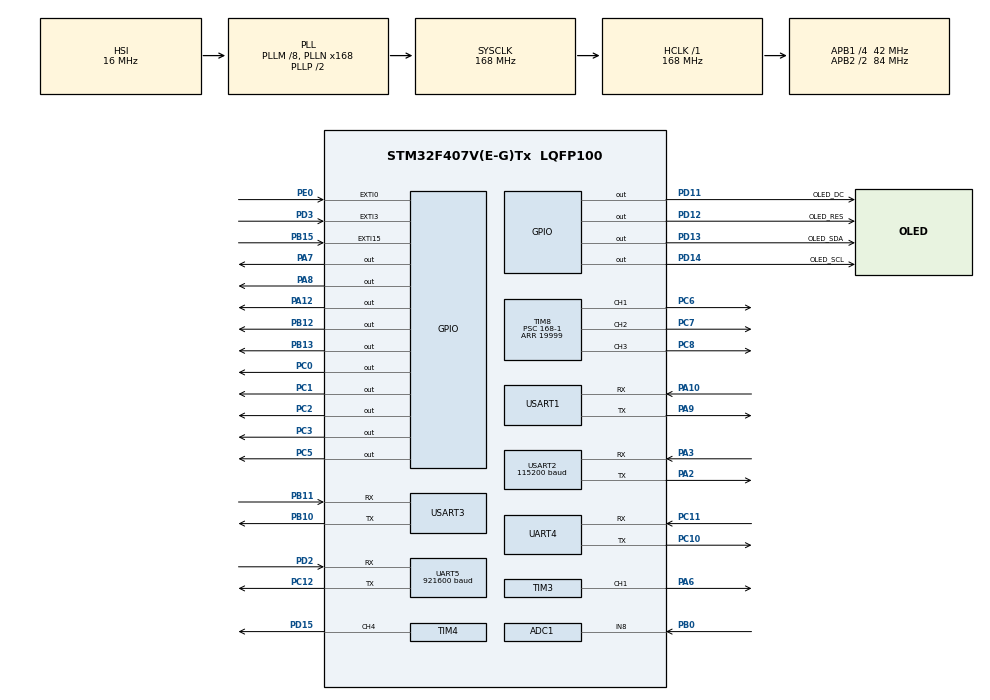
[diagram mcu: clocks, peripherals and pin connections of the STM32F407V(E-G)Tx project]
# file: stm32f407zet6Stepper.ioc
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ADC1.Channel-2\#ChannelRegularConversion=ADC_CHANNEL_8
ADC1.NbrOfConversionFlag=1
ADC1.Rank-2\#ChannelRegularConversion=1
ADC1.SamplingTime-2\#ChannelRegularConversion=ADC_SAMPLETIME_3CYCLES
ADC1.master=1
Dma.Request0=USART1_RX
Dma.Request1=USART1_TX
Dma.Request2=UART5_RX
Dma.Request3=UART5_TX
Dma.Request4=UART4_RX
Dma.Request5=UART4_TX
Dma.Request6=USART2_RX
Dma.Request7=USART2_TX
Dma.Request8=USART3_TX
Dma.Request9=USART3_RX
Dma.UART4_RX.4.Direction=DMA_PERIPH_TO_MEMORY
Dma.UART4_RX.4.FIFOMode=DMA_FIFOMODE_DISABLE
Dma.UART4_RX.4.Instance=DMA1_Stream2
Dma.UART4_RX.4.MemDataAlignment=DMA_MDATAALIGN_BYTE
Dma.UART4_RX.4.MemInc=DMA_MINC_ENABLE
Dma.UART4_RX.4.Mode=DMA_NORMAL
Dma.UART4_RX.4.PeriphDataAlignment=DMA_PDATAALIGN_BYTE
Dma.UART4_RX.4.PeriphInc=DMA_PINC_DISABLE
Dma.UART4_RX.4.Priority=DMA_PRIORITY_LOW
Dma.UART4_TX.5.Direction=DMA_MEMORY_TO_PERIPH
Dma.UART4_TX.5.FIFOMode=DMA_FIFOMODE_DISABLE
Dma.UART4_TX.5.Instance=DMA1_Stream4
Dma.UART4_TX.5.MemDataAlignment=DMA_MDATAALIGN_BYTE
Dma.UART4_TX.5.MemInc=DMA_MINC_ENABLE
Dma.UART4_TX.5.Mode=DMA_NORMAL
Dma.UART4_TX.5.PeriphDataAlignment=DMA_PDATAALIGN_BYTE
Dma.UART4_TX.5.PeriphInc=DMA_PINC_DISABLE
Dma.UART4_TX.5.Priority=DMA_PRIORITY_LOW
Dma.UART5_RX.2.Direction=DMA_PERIPH_TO_MEMORY
Dma.UART5_RX.2.FIFOMode=DMA_FIFOMODE_DISABLE
Dma.UART5_RX.2.Instance=DMA1_Stream0
Dma.UART5_RX.2.MemDataAlignment=DMA_MDATAALIGN_BYTE
Dma.UART5_RX.2.MemInc=DMA_MINC_ENABLE
Dma.UART5_RX.2.Mode=DMA_NORMAL
Dma.UART5_RX.2.PeriphDataAlignment=DMA_PDATAALIGN_BYTE
Dma.UART5_RX.2.PeriphInc=DMA_PINC_DISABLE
Dma.UART5_RX.2.Priority=DMA_PRIORITY_LOW
Dma.UART5_TX.3.Direction=DMA_MEMORY_TO_PERIPH
Dma.UART5_TX.3.FIFOMode=DMA_FIFOMODE_DISABLE
Dma.UART5_TX.3.Instance=DMA1_Stream7
Dma.UART5_TX.3.MemDataAlignment=DMA_MDATAALIGN_BYTE
Dma.UART5_TX.3.MemInc=DMA_MINC_ENABLE
Dma.UART5_TX.3.Mode=DMA_NORMAL
Dma.UART5_TX.3.PeriphDataAlignment=DMA_PDATAALIGN_BYTE
Dma.UART5_TX.3.PeriphInc=DMA_PINC_DISABLE
Dma.UART5_TX.3.Priority=DMA_PRIORITY_LOW
Dma.USART1_RX.0.Direction=DMA_PERIPH_TO_MEMORY
Dma.USART1_RX.0.FIFOMode=DMA_FIFOMODE_DISABLE
Dma.USART1_RX.0.Instance=DMA2_Stream2
Dma.USART1_RX.0.MemDataAlignment=DMA_MDATAALIGN_BYTE
Dma.USART1_RX.0.MemInc=DMA_MINC_ENABLE
Dma.USART1_RX.0.Mode=DMA_NORMAL
Dma.USART1_RX.0.PeriphDataAlignment=DMA_PDATAALIGN_BYTE
Dma.USART1_RX.0.PeriphInc=DMA_PINC_DISABLE
Dma.USART1_RX.0.Priority=DMA_PRIORITY_LOW
Dma.USART1_TX.1.Direction=DMA_MEMORY_TO_PERIPH
Dma.USART1_TX.1.FIFOMode=DMA_FIFOMODE_DISABLE
Dma.USART1_TX.1.Instance=DMA2_Stream7
Dma.USART1_TX.1.MemDataAlignment=DMA_MDATAALIGN_BYTE
Dma.USART1_TX.1.MemInc=DMA_MINC_ENABLE
Dma.USART1_TX.1.Mode=DMA_NORMAL
Dma.USART1_TX.1.PeriphDataAlignment=DMA_PDATAALIGN_BYTE
Dma.USART1_TX.1.PeriphInc=DMA_PINC_DISABLE
Dma.USART1_TX.1.Priority=DMA_PRIORITY_LOW
Dma.USART2_RX.6.Direction=DMA_PERIPH_TO_MEMORY
Dma.USART2_RX.6.FIFOMode=DMA_FIFOMODE_DISABLE
Dma.USART2_RX.6.Instance=DMA1_Stream5
Dma.USART2_RX.6.MemDataAlignment=DMA_MDATAALIGN_BYTE
Dma.USART2_RX.6.MemInc=DMA_MINC_ENABLE
Dma.USART2_RX.6.Mode=DMA_NORMAL
Dma.USART2_RX.6.PeriphDataAlignment=DMA_PDATAALIGN_BYTE
Dma.USART2_RX.6.PeriphInc=DMA_PINC_DISABLE
Dma.USART2_RX.6.Priority=DMA_PRIORITY_LOW
Dma.USART2_TX.7.Direction=DMA_MEMORY_TO_PERIPH
Dma.USART2_TX.7.FIFOMode=DMA_FIFOMODE_DISABLE
Dma.USART2_TX.7.Instance=DMA1_Stream6
Dma.USART2_TX.7.MemDataAlignment=DMA_MDATAALIGN_BYTE
Dma.USART2_TX.7.MemInc=DMA_MINC_ENABLE
Dma.USART2_TX.7.Mode=DMA_NORMAL
Dma.USART2_TX.7.PeriphDataAlignment=DMA_PDATAALIGN_BYTE
Dma.USART2_TX.7.PeriphInc=DMA_PINC_DISABLE
Dma.USART2_TX.7.Priority=DMA_PRIORITY_LOW
Dma.USART3_RX.9.Direction=DMA_PERIPH_TO_MEMORY
Dma.USART3_RX.9.FIFOMode=DMA_FIFOMODE_DISABLE
Dma.USART3_RX.9.Instance=DMA1_Stream1
Dma.USART3_RX.9.MemDataAlignment=DMA_MDATAALIGN_BYTE
Dma.USART3_RX.9.MemInc=DMA_MINC_ENABLE
Dma.USART3_RX.9.Mode=DMA_NORMAL
Dma.USART3_RX.9.PeriphDataAlignment=DMA_PDATAALIGN_BYTE
Dma.USART3_RX.9.PeriphInc=DMA_PINC_DISABLE
Dma.USART3_RX.9.Priority=DMA_PRIORITY_LOW
Dma.USART3_TX.8.Direction=DMA_MEMORY_TO_PERIPH
Dma.USART3_TX.8.FIFOMode=DMA_FIFOMODE_DISABLE
Dma.USART3_TX.8.Instance=DMA1_Stream3
Dma.USART3_TX.8.MemDataAlignment=DMA_MDATAALIGN_BYTE
Dma.USART3_TX.8.MemInc=DMA_MINC_ENABLE
Dma.USART3_TX.8.Mode=DMA_NORMAL
Dma.USART3_TX.8.PeriphDataAlignment=DMA_PDATAALIGN_BYTE
Dma.USART3_TX.8.PeriphInc=DMA_PINC_DISABLE
Dma.USART3_TX.8.Priority=DMA_PRIORITY_LOW
FREERTOS.Tasks01=defaultTask,11,256,StartDefaultTask,Default,NULL,Dynamic,NULL,NULL;myTask02,15,256,StartTask02,Default,NULL,Dynamic,NULL,NULL;myTask03,47,512,StartTask03,Default,NULL,Dynamic,NULL,NULL;myTask04,8,256,StartTask04,Default,NULL,Dynamic,NULL,NULL;myTask05,16,512,StartTask05,Default,NULL,Dynamic,NULL,NULL
Mcu.Family=STM32F4
Mcu.Name=STM32F407V(E-G)Tx
Mcu.Package=LQFP100
NVIC.DMA1_Stream0_IRQn=true\:5\:0\:false\:false\:true\:true\:false\:true\:true
NVIC.DMA1_Stream1_IRQn=true\:5\:0\:false\:false\:true\:true\:false\:true\:true
NVIC.DMA1_Stream2_IRQn=true\:5\:0\:false\:false\:true\:true\:false\:true\:true
NVIC.DMA1_Stream3_IRQn=true\:5\:0\:false\:false\:true\:true\:false\:true\:true
NVIC.DMA1_Stream4_IRQn=true\:5\:0\:false\:false\:true\:true\:false\:true\:true
NVIC.DMA1_Stream5_IRQn=true\:5\:0\:false\:false\:true\:true\:false\:true\:true
NVIC.DMA1_Stream6_IRQn=true\:5\:0\:false\:false\:true\:true\:false\:true\:true
NVIC.DMA1_Stream7_IRQn=true\:5\:0\:false\:false\:true\:true\:false\:true\:true
NVIC.DMA2_Stream2_IRQn=true\:5\:0\:false\:false\:true\:true\:false\:true\:true
NVIC.DMA2_Stream7_IRQn=true\:5\:0\:false\:false\:true\:true\:false\:true\:true
NVIC.EXTI0_IRQn=true\:5\:0\:false\:false\:true\:true\:true\:true\:true
NVIC.EXTI15_10_IRQn=true\:5\:0\:false\:false\:true\:true\:true\:true\:true
NVIC.EXTI3_IRQn=true\:5\:0\:false\:false\:true\:true\:true\:true\:true
NVIC.PriorityGroup=NVIC_PRIORITYGROUP_4
NVIC.TIM3_IRQn=true\:6\:0\:true\:false\:true\:true\:true\:true\:true
NVIC.TIM8_BRK_TIM12_IRQn=true\:5\:0\:false\:false\:true\:true\:true\:true\:true
NVIC.TIM8_TRG_COM_TIM14_IRQn=true\:4\:0\:true\:false\:true\:false\:false\:true\:true
NVIC.TIM8_UP_TIM13_IRQn=true\:5\:0\:false\:false\:true\:true\:true\:true\:true
NVIC.TimeBase=TIM8_TRG_COM_TIM14_IRQn
NVIC.TimeBaseIP=TIM14
NVIC.UART4_IRQn=true\:5\:0\:false\:false\:true\:true\:true\:true\:true
NVIC.UART5_IRQn=true\:5\:0\:false\:false\:true\:true\:true\:true\:true
NVIC.USART1_IRQn=true\:5\:0\:false\:false\:true\:true\:true\:true\:true
NVIC.USART2_IRQn=true\:5\:0\:false\:false\:true\:true\:true\:true\:true
NVIC.USART3_IRQn=true\:5\:0\:false\:false\:true\:true\:true\:true\:true
PA10.Mode=Asynchronous
PA10.Signal=USART1_RX
PA12.Signal=GPIO_Output
PA13.Mode=Serial_Wire
PA13.Signal=SYS_JTMS-SWDIO
PA14.Mode=Serial_Wire
PA14.Signal=SYS_JTCK-SWCLK
PA2.Mode=Asynchronous
PA2.Signal=USART2_TX
PA3.Mode=Asynchronous
PA3.Signal=USART2_RX
PA6.Signal=S_TIM3_CH1
PA7.GPIO_PuPd=GPIO_PULLDOWN
PA7.Signal=GPIO_Output
PA8.Signal=GPIO_Output
PA9.Mode=Asynchronous
PA9.Signal=USART1_TX
PB0.Signal=ADCx_IN8
PB10.Mode=Asynchronous
PB10.Signal=USART3_TX
PB11.Mode=Asynchronous
PB11.Signal=USART3_RX
PB12.Signal=GPIO_Output
PB13.Signal=GPIO_Output
PB15.GPIO_PuPd=GPIO_PULLUP
PB15.Signal=GPXTI15
PC0.Signal=GPIO_Output
PC1.Signal=GPIO_Output
PC10.Mode=Asynchronous
PC10.Signal=UART4_TX
PC11.Mode=Asynchronous
PC11.Signal=UART4_RX
PC12.Mode=Asynchronous
PC12.Signal=UART5_TX
PC2.Signal=GPIO_Output
PC3.GPIO_PuPd=GPIO_PULLDOWN
PC3.Signal=GPIO_Output
PC5.GPIO_ModeDefaultOutputPP=GPIO_MODE_OUTPUT_PP
PC5.GPIO_PuPd=GPIO_PULLDOWN
PC5.Signal=GPIO_Output
PC6.Signal=S_TIM8_CH1
PC7.Signal=S_TIM8_CH2
PC8.Signal=S_TIM8_CH3
PD11.GPIO_Label=OLED_DC
PD11.Signal=GPIO_Output
PD12.GPIO_Label=OLED_RES
PD12.Signal=GPIO_Output
PD13.GPIO_Label=OLED_SDA
PD13.Signal=GPIO_Output
PD14.GPIO_Label=OLED_SCL
PD14.Signal=GPIO_Output
PD15.Signal=S_TIM4_CH4
PD2.Mode=Asynchronous
PD2.Signal=UART5_RX
PD3.GPIO_PuPd=GPIO_PULLDOWN
PD3.Signal=GPXTI3
PE0.GPIO_ModeDefaultEXTI=GPIO_MODE_IT_FALLING
PE0.GPIO_PuPd=GPIO_PULLUP
PE0.Signal=GPXTI0
PH0-OSC_IN.Mode=HSE-External-Oscillator
PH0-OSC_IN.Signal=RCC_OSC_IN
PH1-OSC_OUT.Mode=HSE-External-Oscillator
PH1-OSC_OUT.Signal=RCC_OSC_OUT
ProjectManager.HeapSize=0x200
ProjectManager.StackSize=0x400
ProjectManager.TargetToolchain=MDK-ARM V5.32
RCC.48MHZClocksFreq_Value=84000000
RCC.AHBFreq_Value=168000000
RCC.APB1CLKDivider=RCC_HCLK_DIV4
RCC.APB1Freq_Value=42000000
RCC.APB1TimFreq_Value=84000000
RCC.APB2CLKDivider=RCC_HCLK_DIV2
RCC.APB2Freq_Value=84000000
RCC.APB2TimFreq_Value=168000000
RCC.CortexFreq_Value=168000000
RCC.HCLKFreq_Value=168000000
RCC.HSE_VALUE=25000000
RCC.HSI_VALUE=16000000
RCC.LSE_VALUE=32768
RCC.PLLM=8
RCC.PLLN=168
RCC.SYSCLKFreq_VALUE=168000000
RCC.SYSCLKSource=RCC_SYSCLKSOURCE_PLLCLK
RCC.VCOOutputFreq_Value=336000000
SH.ADCx_IN8.0=ADC1_IN8,IN8
SH.S_TIM3_CH1.0=TIM3_CH1,PWM Generation1 CH1
SH.S_TIM4_CH4.0=TIM4_CH4,PWM Generation4 CH4
SH.S_TIM8_CH1.0=TIM8_CH1,PWM Generation1 CH1
SH.S_TIM8_CH2.0=TIM8_CH2,PWM Generation2 CH2
SH.S_TIM8_CH3.0=TIM8_CH3,PWM Generation3 CH3
TIM3.Channel-PWM\ Generation1\ CH1=TIM_CHANNEL_1
TIM3.Pulse-PWM\ Generation1\ CH1=30000
TIM4.Channel-PWM\ Generation4\ CH4=TIM_CHANNEL_4
TIM8.Channel-PWM\ Generation1\ CH1=TIM_CHANNEL_1
TIM8.Channel-PWM\ Generation2\ CH2=TIM_CHANNEL_2
TIM8.Channel-PWM\ Generation3\ CH3=TIM_CHANNEL_3
TIM8.Period=19999
TIM8.Prescaler=168-1
UART4.VirtualMode=Asynchronous
UART5.BaudRate=921600
UART5.VirtualMode=Asynchronous
USART1.VirtualMode=VM_ASYNC
USART2.BaudRate=115200
USART2.VirtualMode=VM_ASYNC
USART3.VirtualMode=VM_ASYNC
VP_FREERTOS_VS_CMSIS_V2.Mode=CMSIS_V2
VP_SYS_VS_tim14.Mode=TIM14
board=custom

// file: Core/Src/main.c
/* USER CODE BEGIN Header */
/**
 ******************************************************************************
 * @file           : main.c
 * @brief          : Main program body
 ******************************************************************************
 * @attention
 *
 * Copyright (c) 2024 STMicroelectronics.
 * All rights reserved.
 *
 * This software is licensed under terms that can be found in the LICENSE file
 * in the root directory of this software component.
 * If no LICENSE file comes with this software, it is provided AS-IS.
 *
 ******************************************************************************
 */
/* USER CODE END Header */
#include "main.h"
#include "cmsis_os.h"
#include "adc.h"
#include "dma.h"
#include "tim.h"
#include "usart.h"
#include "gpio.h"

/* USER CODE BEGIN Includes */
#include "oled.h"
#include "MecanumMotionControl.h"
#include "mpu.h"
#include "openmv.h"
#include "SliderElevatorControl.h"
#include "servo.h"
#include "ZDT_Stepper.h"
#include "uart_screen.h"
#include "camera_led.h"
/* USER CODE END Includes */

void SystemClock_Config(void);
void MX_FREERTOS_Init(void);

/* USER CODE BEGIN 0 */

int fputc(int ch, FILE *f)
{
  HAL_UART_Transmit(&huart1, (uint8_t *)&ch, 1, HAL_MAX_DELAY);
  return ch;
}
/*
ä¸˛ĺŁDMAćĽćśä¸­ć­ĺč°ĺ˝ć°
*/
uint8_t Rx_data[200] = {0};
char received_string[256];
extern DMA_HandleTypeDef hdma_usart1_rx;
extern uint8_t MPU_RX_flag;
extern uint8_t openmv_rx_flag;
void HAL_UARTEx_RxEventCallback(UART_HandleTypeDef *huart, uint16_t Size)
{
  if (huart == &huart1)
  {

    strcpy(received_string, (char *)Rx_data);
    HAL_UART_Transmit(&huart3, Rx_data, Size, HAL_MAX_DELAY);
    // HAL_UART_Transmit(&huart1, Rx_data, Size, HAL_MAX_DELAY);

    // fprintf(stdout, "%s\r\n", received_string); // ĺ°ä¸˛?????????????????????1ćĽćśĺ°çć°ćŽčżĺĺ°ä¸˛?????????????????????1
    // HAL_UART_Transmit(&huart5, Rx_data, Size, HAL_MAX_DELAY);
    memset(Rx_data, 0, sizeof(Rx_data));
    HAL_UARTEx_ReceiveToIdle_DMA(huart, Rx_data, sizeof(Rx_data) - 1);
    __HAL_DMA_DISABLE_IT(&hdma_usart1_rx, DMA_IT_HT);
  }
  else if (huart == &huart5) // ćĽćśMPUć°ćŽ
  {
    MPU_UARTE_Rx_Callback(Size);
    MPU_RX_flag = 1 - MPU_RX_flag;
  }
  else if (huart == &huart4) // ćĽćśOpenMVć°ćŽ
  {
    openmv_uart_rx_callback(Size, 4);
    openmv_rx_flag = 1 - openmv_rx_flag;
    HAL_GPIO_TogglePin(GPIOA, GPIO_PIN_12);
  }
  else if (huart == &huart2)
  {
    uart_screen_init();
    openmv_uart_rx_callback(Size, 2);
    openmv_rx_flag = 1 - openmv_rx_flag;
    HAL_GPIO_TogglePin(GPIOA, GPIO_PIN_12);
  }
  else if (huart == &huart3)
  {
    ZDT_Stepper_USRT_RX_callback(Size);
    HAL_GPIO_TogglePin(GPIOA, GPIO_PIN_12);
  }
}

extern uint8_t start_flag;
uint8_t button_fix_flag = 0;
void HAL_GPIO_EXTI_Callback(uint16_t GPIO_Pin)
{
  if (GPIO_Pin == GPIO_PIN_0 || GPIO_Pin == GPIO_PIN_15)
  {
    calibrateAngleToZero(0);
    start_flag = 1;
  }
  else if (GPIO_Pin == GPIO_PIN_3)
  {
    if (button_fix_flag == 0)
    {
      button_fix_flag = 1;
    }
    else
    {
      button_fix_flag = 0;
      for (volatile uint32_t i = 0; i < 1000; i++)
      {
      }
      if (HAL_GPIO_ReadPin(GPIOD, GPIO_PIN_3) == GPIO_PIN_SET)
      {
        ZDT_Stepper_Enable(0, 1, SYNC_DISABLE);
        // printf("ZDT_Stepper_Enable\r\n");

        for (volatile uint32_t i = 0; i < 1000; i++)
        {
        }
      }
      else
      {
        ZDT_Stepper_Enable(0, 0, SYNC_DISABLE);
        // printf("ZDT_Stepper_Disable\r\n");

        for (volatile uint32_t i = 0; i < 1000; i++)
        {
        }
      }
    }
  }
}
void HAL_TIM_PWM_PulseFinishedCallback(TIM_HandleTypeDef *htim)
{
  if (htim->Instance == TIM3) // ĺ¤ć­ćŻĺŞä¸ŞĺŽćśĺ¨
  {
    // ĺ? PWM čĺ˛çťććśĺä¸?äşćä˝?
    Silder_TIM_Callback();
  }
}
/* USER CODE END 0 */

int main(void)
{

  /* MCU Configuration--------------------------------------------------------*/

  /* Reset of all peripherals, Initializes the Flash interface and the Systick. */
  HAL_Init();

  /* Configure the system clock */
  SystemClock_Config();

  /* Initialize all configured peripherals */
  MX_GPIO_Init();
  MX_DMA_Init();
  MX_USART1_UART_Init();
  MX_ADC1_Init();
  MX_UART5_Init();
  MX_UART4_Init();
  MX_USART2_UART_Init();
  MX_TIM8_Init();
  MX_USART3_UART_Init();
  MX_TIM3_Init();
  MX_TIM4_Init();
  /* USER CODE BEGIN 2 */
  MPU_Init();
  OLED_Init();
  motor_init();
  Servo_Init();
  camera_led_init();
  HAL_UARTEx_ReceiveToIdle_DMA(&huart1, Rx_data, 200 - 1); // ĺŻç¨çŠşé˛ä¸­ć­ćĽćś
  __HAL_DMA_DISABLE_IT(&hdma_usart1_rx, DMA_IT_HT);        // ĺłé­DMAäź čžčżĺä¸­ć­
  ZDT_Stepper_init();

  HAL_Delay(50);

  openmv_uart_init();
  HAL_Delay(50);
  uart_screen_init();
  Slider_position_init();
  // HAL_TIM_PWM_Start(&htim3, TIM_CHANNEL_1);
  // HAL_GPIO_WritePin(GPIOA, GPIO_PIN_6, GPIO_PIN_SET);
  // HAL_GPIO_WritePin(GPIOC, GPIO_PIN_5, GPIO_PIN_SET);

  HAL_Delay(50);
  calibrateAngleToZero(0);
  /* USER CODE END 2 */

  /* Init scheduler */
  osKernelInitialize();

  /* Call init function for freertos objects (in cmsis_os2.c) */
  MX_FREERTOS_Init();

  /* Start scheduler */
  osKernelStart();

  /* We should never get here as control is now taken by the scheduler */

  /* Infinite loop */
  /* USER CODE BEGIN WHILE */

  // HAL_UART_Transmit(&Stepper_Uart_Handle, send_data, 16, HAL_MAX_DELAY);
  while (1)
  {
    /* USER CODE END WHILE */

    /* USER CODE BEGIN 3 */
    // HAL_GPIO_TogglePin(GPIOC, GPIO_PIN_5);
    HAL_GPIO_WritePin(GPIOD, GPIO_PIN_15, GPIO_PIN_RESET);
    HAL_Delay(500);
    HAL_GPIO_WritePin(GPIOD, GPIO_PIN_15, GPIO_PIN_SET);
    HAL_Delay(500);
    // HAL_GPIO_TogglePin(GPIOA, GPIO_PIN_6);
    // HAL_GPIO_TogglePin(GPIOC, GPIO_PIN_5);
    // HAL_GPIO_TogglePin(GPIOC, GPIO_PIN_3);
    // HAL_GPIO_TogglePin(GPIOC, GPIO_PIN_2);
    // HAL_GPIO_TogglePin(GPIOC, GPIO_PIN_1);
    // HAL_GPIO_TogglePin(GPIOC, GPIO_PIN_0);

    // HAL_GPIO_TogglePin(GPIOA, GPIO_PIN_12);
    // HAL_Delay(1000);
  }
  /* USER CODE END 3 */
}

void SystemClock_Config(void)
{
  RCC_OscInitTypeDef RCC_OscInitStruct = {0};
  RCC_ClkInitTypeDef RCC_ClkInitStruct = {0};

  /** Configure the main internal regulator output voltage
   */
  __HAL_RCC_PWR_CLK_ENABLE();
  __HAL_PWR_VOLTAGESCALING_CONFIG(PWR_REGULATOR_VOLTAGE_SCALE1);

  /** Initializes the RCC Oscillators according to the specified parameters
   * in the RCC_OscInitTypeDef structure.
   */
  RCC_OscInitStruct.OscillatorType = RCC_OSCILLATORTYPE_HSI;
  RCC_OscInitStruct.HSIState = RCC_HSI_ON;
  RCC_OscInitStruct.HSICalibrationValue = RCC_HSICALIBRATION_DEFAULT;
  RCC_OscInitStruct.PLL.PLLState = RCC_PLL_ON;
  RCC_OscInitStruct.PLL.PLLSource = RCC_PLLSOURCE_HSI;
  RCC_OscInitStruct.PLL.PLLM = 8;
  RCC_OscInitStruct.PLL.PLLN = 168;
  RCC_OscInitStruct.PLL.PLLP = RCC_PLLP_DIV2;
  RCC_OscInitStruct.PLL.PLLQ = 4;
  if (HAL_RCC_OscConfig(&RCC_OscInitStruct) != HAL_OK)
  {
    Error_Handler();
  }

  /** Initializes the CPU, AHB and APB buses clocks
   */
  RCC_ClkInitStruct.ClockType = RCC_CLOCKTYPE_HCLK | RCC_CLOCKTYPE_SYSCLK | RCC_CLOCKTYPE_PCLK1 | RCC_CLOCKTYPE_PCLK2;
  RCC_ClkInitStruct.SYSCLKSource = RCC_SYSCLKSOURCE_PLLCLK;
  RCC_ClkInitStruct.AHBCLKDivider = RCC_SYSCLK_DIV1;
  RCC_ClkInitStruct.APB1CLKDivider = RCC_HCLK_DIV4;
  RCC_ClkInitStruct.APB2CLKDivider = RCC_HCLK_DIV2;

  if (HAL_RCC_ClockConfig(&RCC_ClkInitStruct, FLASH_LATENCY_5) != HAL_OK)
  {
    Error_Handler();
  }
}

void HAL_TIM_PeriodElapsedCallback(TIM_HandleTypeDef *htim)
{
  if (htim->Instance == TIM14)
  {
    HAL_IncTick();
  }
  /* USER CODE BEGIN Callback 1 */
  if (htim->Instance == TIM3)
  {
    Silder_TIM_Callback();
  }
  /* USER CODE END Callback 1 */
}

void Error_Handler(void)
{
  __disable_irq();
  while (1)
  {
  }
}

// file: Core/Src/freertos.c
/* USER CODE BEGIN Header */
/**
 ******************************************************************************
 * File Name          : freertos.c
 * Description        : Code for freertos applications
 ******************************************************************************
 * @attention
 *
 * Copyright (c) 2024 STMicroelectronics.
 * All rights reserved.
 *
 * This software is licensed under terms that can be found in the LICENSE file
 * in the root directory of this software component.
 * If no LICENSE file comes with this software, it is provided AS-IS.
 *
 ******************************************************************************
 */
/* USER CODE END Header */

#include "FreeRTOS.h"
#include "task.h"
#include "main.h"
#include "cmsis_os.h"

/* USER CODE BEGIN Includes */
#include "oled.h"
#include "adc_data.h"
#include "MecanumMotionControl.h"
#include "mpu.h"
#include "SliderElevatorControl.h"
#include "openmv.h"
#include "user_task.h"
#include "servo.h"
#include "ZDT_Stepper.h"
#include "beep.h"
#include "uart_screen.h"
#include "camera_led.h"
/* USER CODE END Includes */

/* USER CODE BEGIN PTD */

extern SYS_STATE_Data sys_state_data;
extern OPENMV_data openmv_data;
extern ZDTStepperData stepperdata_1;
extern ZDTStepperData stepperdata_2;
extern ZDTStepperData stepperdata_3;
extern ZDTStepperData stepperdata_4;
extern ZDTStepperData stepperdata_5;
extern DMA_HandleTypeDef hdma_usart3_rx;
extern DMA_HandleTypeDef hdma_usart2_rx;
extern uint8_t uart_screen_rx_data;

/* USER CODE END PTD */

/* Definitions for defaultTask */
osThreadId_t defaultTaskHandle;
const osThreadAttr_t defaultTask_attributes = {
    .name = "defaultTask",
    .stack_size = 256 * 4,
    .priority = (osPriority_t)osPriorityLow3,
};
/* Definitions for myTask02 */
osThreadId_t myTask02Handle;
const osThreadAttr_t myTask02_attributes = {
    .name = "myTask02",
    .stack_size = 256 * 4,
    .priority = (osPriority_t)osPriorityLow7,
};
/* Definitions for myTask03 */
osThreadId_t myTask03Handle;
const osThreadAttr_t myTask03_attributes = {
    .name = "myTask03",
    .stack_size = 512 * 4,
    .priority = (osPriority_t)osPriorityHigh7,
};
/* Definitions for myTask04 */
osThreadId_t myTask04Handle;
const osThreadAttr_t myTask04_attributes = {
    .name = "myTask04",
    .stack_size = 256 * 4,
    .priority = (osPriority_t)osPriorityLow,
};
/* Definitions for myTask05 */
osThreadId_t myTask05Handle;
const osThreadAttr_t myTask05_attributes = {
    .name = "myTask05",
    .stack_size = 512 * 4,
    .priority = (osPriority_t)osPriorityBelowNormal,
};

void StartDefaultTask(void *argument);
void StartTask02(void *argument);
void StartTask03(void *argument);
void StartTask04(void *argument);
void StartTask05(void *argument);

void MX_FREERTOS_Init(void); /* (MISRA C 2004 rule 8.1) */

void MX_FREERTOS_Init(void)
{

  /* Create the thread(s) */
  /* creation of defaultTask */
  defaultTaskHandle = osThreadNew(StartDefaultTask, NULL, &defaultTask_attributes);

  /* creation of myTask02 */
  myTask02Handle = osThreadNew(StartTask02, NULL, &myTask02_attributes);

  /* creation of myTask03 */
  myTask03Handle = osThreadNew(StartTask03, NULL, &myTask03_attributes);

  /* creation of myTask04 */
  myTask04Handle = osThreadNew(StartTask04, NULL, &myTask04_attributes);

  /* creation of myTask05 */
  myTask05Handle = osThreadNew(StartTask05, NULL, &myTask05_attributes);

}

/* USER CODE BEGIN Header_StartDefaultTask */
// ��??查任务剩余堆栈内存的函数
void CheckTaskMemoryUsage(TaskHandle_t taskHandle)
{
  // 获取任务的堆栈高水位标记并转换为字节��??
  UBaseType_t stackHighWaterMark = uxTaskGetStackHighWaterMark(taskHandle);
  printf("任务内存剩余: %lu 字节\r\n", (unsigned long)(stackHighWaterMark * sizeof(StackType_t)));
}
/**
 * @brief 获取当前时间
 *
 * @return float  单位：秒
 */
float get_time()
{
  return (float)HAL_GetTick() / 1000.0f;
}
/**
 * @brief  Function implementing the defaultTask thread.
 * @param  argument: Not used
 * @retval None
 */
/* USER CODE END Header_StartDefaultTask */
void StartDefaultTask(void *argument)
{
  /* USER CODE BEGIN StartDefaultTask */

  /* Infinite loop */
  for (;;)
  {
    // if (HAL_GetTick() / 1000 % 8 >= 4)
    // printf("Roll=%.2f, Pitch=%.2f, Yaw=%.2f\r\n", radiansToDegrees(sys_state_data.real_Roll), radiansToDegrees(sys_state_data.real_Pitch), radiansToDegrees(sys_state_data.real_Yaw));
    // printf("Roll=%.2f, Pitch=%.2f, Yaw=%.2f\r\n", radiansToDegrees(sys_state_data.Roll), radiansToDegrees(sys_state_data.Pitch), radiansToDegrees(sys_state_data.FullYaw));
    if (Get_IMU_Is_Working())
    {
    }
    else
    {
      MPU_Init();
    }
    check_uart_receive_status();
    osDelay(1);
  }
  /* USER CODE END StartDefaultTask */
}

/* USER CODE BEGIN Header_StartTask02 */
// OLED显示任务
/**
 * @brief Function implementing the myTask02 thread.
 * @param argument: Not used
 * @retval None
 */
extern uint32_t pulse_count;
/* USER CODE END Header_StartTask02 */
void StartTask02(void *argument)
{
  /* USER CODE BEGIN StartTask02 */

  /* Infinite loop */
  for (;;)
  {
    OLED_display_task();
    // uasrt_screen_task();

    // printf("pulse_count=%d\r\n", pulse_count);
    osDelay(1);
  }
  /* USER CODE END StartTask02 */
}

/* USER CODE BEGIN Header_StartTask03 */
extern int stepper_count;
/**
 * @brief Function implementing the myTask03 thread.
 * @param argument: Not used
 * @retval None
 */
extern uint8_t delay_time;
/* USER CODE END Header_StartTask03 */
void StartTask03(void *argument)
{
  /* USER CODE BEGIN StartTask03 */
  // set_solid_enable(1);

  init_task();
  // osDelay(1000);
  main_task();
  // find_line_calibrate_MPU_PID(0);
  // openmv_data.object_list[0] = 312;
  // openmv_data.object_list[1] = 312;
  // MaterialArea_Task(0);
  // RoughProcessingArea_Task(0); // 粗加工区任务
  // TemporaryStorageArea_Task(1);
  // set_Slider_position(0, 130);
  // osDelay(1000);
  // set_Slider_position(75, 800);
  // osDelay(1000);
  // set_Slider_position(150, 800);
  // osDelay(1000);
  // set_Slider_position(0, 800);
  // osDelay(1000);
  // set_Slider_position_2(0, 100);
  // osDelay(2000);
  // set_Slider_position_2(75, 100);
  // osDelay(2000);
  // set_Slider_position_2(150, 100);

  // Set_Sliding_table_Pos(1);
  // Set_Servo_angle(0, 210);
  // Set_Servo_angle(1, 130);

  // Set_Table_Pos(0);
  // osDelay(2000);
  // Set_Table_Pos(1);
  // osDelay(2000);
  // Set_Table_Pos(2);
  // osDelay(2000);

  // Set_Servo_angle(1, 135);
  // Set_Servo_angle(1, 255);
  // catch_material_in_middle();
  // Put_material(0);
  // Put_material(1);
  // Put_material(2);
  // Get_material(0);
  // Get_material(1);
  // Get_material(2);

  // base_run_distance_base(10, 25, 0, 100); // ?????

  /* Infinite loop */
  for (;;)
  {
    // Set_Servo_angle(2, 0);
    // osDelay(1000);
    // Set_Servo_angle(2, 180);
    // osDelay(1000);

    // for (uint16_t i = 0; i < 270; i++)
    // {
    //   // Set_Servo_angle(1, i);
    //   osDelay(10);
    // }
    // osDelay(1000);
    // Camera_switch_mode(CENTER_POSITION_MODE);
    // osDelay(2000);
    // Camera_switch_mode(CENTER_POSITION_MODE);
    // osDelay(2000);
    // Camera_switch_mode(HIGH_CENTER_POSITION_MODE);
    // osDelay(2000);
    // Camera_switch_mode(HIGH_CENTER_POSITION_MODE);
    // osDelay(2000);
    // Camera_switch_mode(FIND_LINE_MODE);
    // osDelay(2000);
    // Camera_switch_mode(Stacking_MODE);
    // osDelay(2000);
    // Camera_switch_mode(Stacking_MODE);
    // osDelay(2000);
    // Set_Camera_Led_light(20);
    // osDelay(1000);
    // Set_Camera_Led_light(80);
    // HAL_GPIO_TogglePin(GPIOA, GPIO_PIN_6);
    // HAL_GPIO_TogglePin(GPIOA, GPIO_PIN_7);
    HAL_GPIO_TogglePin(GPIOC, GPIO_PIN_0);
    HAL_GPIO_TogglePin(GPIOC, GPIO_PIN_1);
    // HAL_GPIO_TogglePin(GPIOC, GPIO_PIN_2);
    // HAL_GPIO_TogglePin(GPIOC, GPIO_PIN_3);
    // HAL_GPIO_TogglePin(GPIOC, GPIO_PIN_5);
    // HAL_GPIO_TogglePin(GPIOD, GPIO_PIN_15);
    // HAL_GPIO_TogglePin(GPIOB, GPIO_PIN_12);
    // HAL_GPIO_TogglePin(GPIOB, GPIO_PIN_13);
    // HAL_GPIO_WritePin(GPIOC, GPIO_PIN_5, GPIO_PIN_RESET);
    // HAL_GPIO_WritePin(GPIOA, GPIO_PIN_7, GPIO_PIN_RESET);
    osDelay(1000);
    // camera_led_huxideng();
    osDelay(1);
  }
  /* USER CODE END StartTask03 */
}

void StartTask04(void *argument)
{
  /* USER CODE BEGIN StartTask04 */
  /* Infinite loop */
  for (;;)
  {
    if (beep_short_flag == 1)
    {
      beep_short();
    }
    else if (beep_long_flag == 1)
    {
      beep_long();
    }
    osDelay(5);
  }
  /* USER CODE END StartTask04 */
}

void StartTask05(void *argument)
{
  /* USER CODE BEGIN StartTask05 */
  /* Infinite loop */
  for (;;)
  {
    uasrt_screen_task();
    osDelay(800);
  }
  /* USER CODE END StartTask05 */
}
